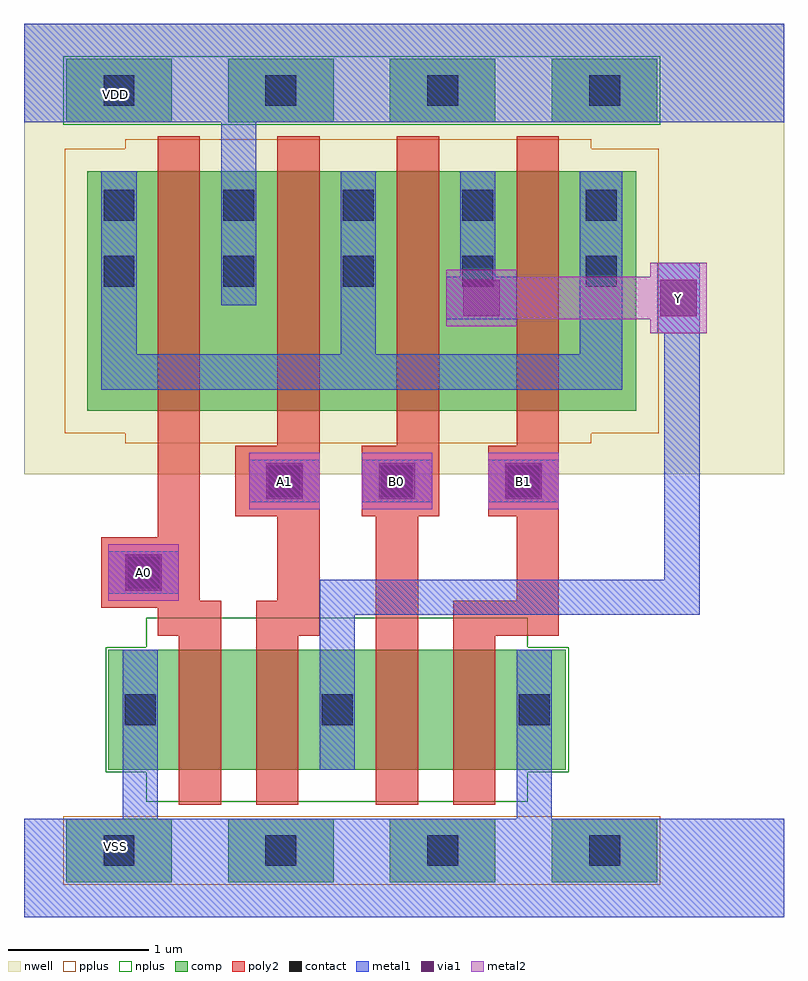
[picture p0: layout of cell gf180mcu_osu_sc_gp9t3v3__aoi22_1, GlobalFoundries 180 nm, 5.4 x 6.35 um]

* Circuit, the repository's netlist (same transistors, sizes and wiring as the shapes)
* Copyright 2022 Google LLC
*
* Licensed under the Apache License, Version 2.0 (the "License");
* you may not use this file except in compliance with the License.
* You may obtain a copy of the License at
*
*      http://www.apache.org/licenses/LICENSE-2.0
*
* Unless required by applicable law or agreed to in writing, software
* distributed under the License is distributed on an "AS IS" BASIS,
* WITHOUT WARRANTIES OR CONDITIONS OF ANY KIND, either express or implied.
* See the License for the specific language governing permissions and
* limitations under the License.

.option scale=0.05u

.subckt gf180mcu_osu_sc_gp9t3v3__aoi22_1 Y A0 A1 B0 B1
X0 a_9_70 A1 VDD VDD pmos_3p3 w=34 l=6
X1 a_56_19 B0 Y VSS nmos_3p3 w=17 l=6
X2 Y B0 a_9_70 VDD pmos_3p3 w=34 l=6
X3 VDD A0 a_9_70 VDD pmos_3p3 w=34 l=6
X4 VSS B1 a_56_19 VSS nmos_3p3 w=17 l=6
X5 a_28_19 A0 VSS VSS nmos_3p3 w=17 l=6
X6 a_9_70 B1 Y VDD pmos_3p3 w=34 l=6
X7 Y A1 a_28_19 VSS nmos_3p3 w=17 l=6
.ends

** hspice subcircuit dictionary

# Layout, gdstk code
import gdstk
lib = gdstk.Library(unit=1e-6, precision=1e-09)
def R(c, l, rs):  # rectangles x0, y0, x1, y1
    for r in rs: c.add(gdstk.rectangle(r[:2], r[2:], *l))
def A(c, l, x, y, w, h, nx, ny, dx, dy):  # array of equal rectangles
    R(c, l, [(x+i*dx, y+j*dy, x+i*dx+w, y+j*dy+h) for i in range(nx) for j in range(ny)])
nwell = (21, 0)
comp = (22, 0)
poly2 = (30, 0)
pplus = (31, 0)
nplus = (32, 0)
contact = (33, 0)
metal1 = (34, 0)
via1 = (35, 0)
metal2 = (36, 0)

gf180mcu_osu_sc_gp9t3v3_ = lib.new_cell('gf180mcu_osu_sc_gp9t3v3__aoi22_1')
R(gf180mcu_osu_sc_gp9t3v3_, nwell, [(0,3.15,5.4,6.35)])
A(gf180mcu_osu_sc_gp9t3v3_, comp, 0.3, 0.25, 0.75, 0.45, 4, 2, 1.15, 5.4)
R(gf180mcu_osu_sc_gp9t3v3_, comp, [(0.6,1.05,3.85,1.9), (0.45,3.6,4.35,5.3)])
A(gf180mcu_osu_sc_gp9t3v3_, poly2, 1.8, 3.35, 0.3, 2.2, 3, 1, 0.85, 0)
R(gf180mcu_osu_sc_gp9t3v3_, poly2, [(1.1,0.8,1.4,2), (1.65,0.8,1.95,2), (2.5,0.8,2.8,2.85), (3.05,0.8,3.35,2), (0.95,2,1.4,2.2), (1.65,2,2.1,2.25), (3.05,2,3.8,2.25), (0.55,2.2,1.4,2.25), (0.55,2.25,1.25,2.7), (1.8,2.25,2.1,2.85), (3.5,2.25,3.8,2.85), (0.95,2.7,1.25,5.55), (1.5,2.85,2.1,3.35), (2.4,2.85,2.95,3.35), (3.3,2.85,3.8,3.35)])
R(gf180mcu_osu_sc_gp9t3v3_, pplus, [(0.28,0.23,4.52,0.72), (0.72,3.37,4.03,3.44), (0.29,3.44,4.51,5.46), (0.72,5.46,4.03,5.53)])
R(gf180mcu_osu_sc_gp9t3v3_, nplus, [(0.87,0.82,3.58,1.03), (0.58,1.03,3.87,1.92), (0.87,1.92,3.58,2.13), (0.28,5.63,4.52,6.12)])
A(gf180mcu_osu_sc_gp9t3v3_, contact, 0.565, 0.365, 0.22, 0.22, 4, 2, 1.15, 5.4)
A(gf180mcu_osu_sc_gp9t3v3_, contact, 0.715, 1.365, 0.22, 0.22, 3, 1, 1.4, 0)
A(gf180mcu_osu_sc_gp9t3v3_, contact, 0.565, 4.48, 0.22, 0.22, 4, 2, 0.85, 0.47)
R(gf180mcu_osu_sc_gp9t3v3_, contact, [(0.74,2.34,0.96,2.56), (1.74,2.99,1.96,3.21), (2.54,2.99,2.76,3.21), (3.44,2.99,3.66,3.21), (3.99,4.48,4.21,4.7), (3.99,4.95,4.21,5.17)])
R(gf180mcu_osu_sc_gp9t3v3_, metal1, [(0,0,5.4,0.7), (0.7,0.7,0.95,1.9), (3.5,0.7,3.75,1.9), (2.1,1.05,2.35,2.15), (2.1,2.15,4.8,2.4), (0.6,2.3,1.1,2.6), (4.55,2.4,4.8,4.15), (1.6,2.95,2.1,3.25), (2.4,2.95,2.9,3.25), (3.3,2.95,3.8,3.25), (0.55,3.75,4.25,4), (0.55,4,0.8,5.3), (2.25,4,2.5,5.3), (3.95,4,4.25,5.3), (4.5,4.15,4.8,4.65), (3,4.25,3.5,4.55), (1.4,4.35,1.65,5.65), (3.1,4.55,3.35,5.3), (0,5.65,5.4,6.35)])
R(gf180mcu_osu_sc_gp9t3v3_, via1, [(0.72,2.32,0.98,2.58), (1.72,2.97,1.98,3.23), (2.52,2.97,2.78,3.23), (3.42,2.97,3.68,3.23), (3.12,4.27,3.38,4.53), (4.52,4.27,4.78,4.53)])
R(gf180mcu_osu_sc_gp9t3v3_, metal2, [(0.6,2.25,1.1,2.65), (1.6,2.9,2.1,3.3), (2.4,2.9,2.9,3.3), (3.3,2.9,3.8,3.3), (4.45,4.15,4.85,4.25), (3,4.2,3.5,4.25), (3,4.25,4.85,4.55), (3,4.55,3.5,4.6), (4.45,4.55,4.85,4.65)])
gf180mcu_osu_sc_gp9t3v3_.add(gdstk.Label('A0', (0.85,2.45), layer=36, texttype=10))
gf180mcu_osu_sc_gp9t3v3_.add(gdstk.Label('A1', (1.85,3.1), layer=36, texttype=10))
gf180mcu_osu_sc_gp9t3v3_.add(gdstk.Label('B0', (2.65,3.1), layer=36, texttype=10))
gf180mcu_osu_sc_gp9t3v3_.add(gdstk.Label('B1', (3.55,3.1), layer=36, texttype=10))
gf180mcu_osu_sc_gp9t3v3_.add(gdstk.Label('Y', (4.65,4.4), layer=36, texttype=10))
gf180mcu_osu_sc_gp9t3v3_.add(gdstk.Label('VDD', (0.65,5.85), layer=34, texttype=10))
gf180mcu_osu_sc_gp9t3v3_.add(gdstk.Label('VSS', (0.65,0.5), layer=34, texttype=10))

lib.write_gds('gf180mcu_osu_sc_gp9t3v3__aoi22_1.gds')
